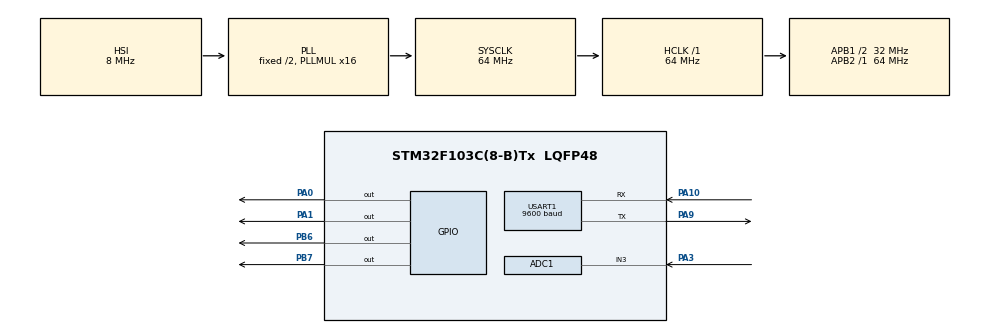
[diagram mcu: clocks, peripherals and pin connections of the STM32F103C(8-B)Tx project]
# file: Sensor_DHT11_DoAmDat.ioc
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ADC1.Channel-0\#ChannelRegularConversion=ADC_CHANNEL_3
ADC1.ContinuousConvMode=ENABLE
ADC1.NbrOfConversionFlag=1
ADC1.Rank-0\#ChannelRegularConversion=1
ADC1.SamplingTime-0\#ChannelRegularConversion=ADC_SAMPLETIME_239CYCLES_5
ADC1.master=1
FREERTOS.Tasks01=defaultTask,0,128,StartDefaultTask,Default,NULL,Dynamic,NULL,NULL
Mcu.Family=STM32F1
Mcu.Name=STM32F103C(8-B)Tx
Mcu.Package=LQFP48
NVIC.ADC1_2_IRQn=true\:6\:0\:true\:false\:true\:true\:true\:true
NVIC.PriorityGroup=NVIC_PRIORITYGROUP_4
NVIC.TIM1_UP_IRQn=true\:6\:0\:true\:false\:true\:true\:true\:true
NVIC.TIM4_IRQn=true\:15\:0\:false\:false\:true\:false\:false\:true
NVIC.TimeBase=TIM4_IRQn
NVIC.TimeBaseIP=TIM4
NVIC.USART1_IRQn=true\:6\:0\:true\:false\:true\:true\:true\:true
PA0-WKUP.Signal=GPIO_Output
PA1.Signal=GPIO_Output
PA10.Mode=Asynchronous
PA10.Signal=USART1_RX
PA13.Mode=Serial_Wire
PA13.Signal=SYS_JTMS-SWDIO
PA14.Mode=Serial_Wire
PA14.Signal=SYS_JTCK-SWCLK
PA3.Signal=ADCx_IN3
PA9.Mode=Asynchronous
PA9.Signal=USART1_TX
PB6.PinState=GPIO_PIN_RESET
PB6.Signal=GPIO_Output
PB7.Signal=GPIO_Output
PD0-OSC_IN.Mode=HSE-External-Oscillator
PD0-OSC_IN.Signal=RCC_OSC_IN
PD1-OSC_OUT.Mode=HSE-External-Oscillator
PD1-OSC_OUT.Signal=RCC_OSC_OUT
ProjectManager.HeapSize=0x200
ProjectManager.StackSize=0x400
ProjectManager.TargetToolchain=MDK-ARM V5.32
RCC.ADCPresc=RCC_ADCPCLK2_DIV6
RCC.AHBFreq_Value=64000000
RCC.APB1CLKDivider=RCC_HCLK_DIV2
RCC.APB1Freq_Value=32000000
RCC.APB1TimFreq_Value=64000000
RCC.APB2Freq_Value=64000000
RCC.APB2TimFreq_Value=64000000
RCC.HCLKFreq_Value=64000000
RCC.PLLMUL=RCC_PLL_MUL16
RCC.SYSCLKFreq_VALUE=64000000
RCC.SYSCLKSource=RCC_SYSCLKSOURCE_PLLCLK
RCC.USBFreq_Value=64000000
SH.ADCx_IN3.0=ADC1_IN3,IN3
TIM1.Period=999
TIM1.Prescaler=63
TIM2.Prescaler=63
USART1.BaudRate=9600
USART1.VirtualMode=VM_ASYNC
VP_FREERTOS_VS_CMSIS_V1.Mode=CMSIS_V1
VP_SYS_VS_tim4.Mode=TIM4
VP_TIM1_VS_ClockSourceINT.Mode=Internal
VP_TIM2_VS_ClockSourceINT.Mode=Internal
board=custom

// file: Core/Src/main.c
/* USER CODE BEGIN Header */
/**
  ******************************************************************************
  * @file           : main.c
  * @brief          : Main program body
  ******************************************************************************
  * @attention
  *
  * <h2><center>&copy; Copyright (c) 2023 STMicroelectronics.
  * All rights reserved.</center></h2>
  *
  * This software component is licensed by ST under BSD 3-Clause license,
  * the "License"; You may not use this file except in compliance with the
  * License. You may obtain a copy of the License at:
  *                        opensource.org/licenses/BSD-3-Clause
  *
  ******************************************************************************
  */
/* USER CODE END Header */
#include "main.h"
#include "cmsis_os.h"

/* USER CODE BEGIN Includes */
#include "stdbool.h"
#include "sensor.h"
#include "doam_dat.h"
#include "uart.h"
/* USER CODE END Includes */

ADC_HandleTypeDef hadc1;

TIM_HandleTypeDef htim1;
TIM_HandleTypeDef htim2;

UART_HandleTypeDef huart1;

osThreadId defaultTaskHandle;
/* USER CODE BEGIN PV */
 ADC_ChannelConfTypeDef sConfigPrivate = {0};

osThreadId task2_Handle;
/* USER CODE END PV */

void SystemClock_Config(void);
static void MX_GPIO_Init(void);
static void MX_ADC1_Init(void);
static void MX_TIM1_Init(void);
static void MX_TIM2_Init(void);
static void MX_USART1_UART_Init(void);
void StartDefaultTask(void const * argument);

/* USER CODE BEGIN PFP */

void Task2(void const *parameter);

extern uint32_t g_sysTime;
extern volatile uint8_t g_run1msFlag;

 #define VALUE_ON_RELAY  30

uint32_t time10ms = 0;
uint32_t time100ms = 0;
uint32_t cambien_doam_dat1=0;
uint32_t cambien_doam_dat2=0;
uint32_t cambien_anhsang1=0;
uint32_t cambien_anhsang2=0;

typedef enum
{
	ADC_CH_3 = 0,
	ADC_CH_4,
	ADC_CH_5,
	ADC_CH_6
}ch_adc_t;

DHT11_Data_TypeDef DHT11_Data_1;
DHT11_Data_TypeDef DHT11_Data_2;

float temp1 = 0, humi1 = 0;
float temp2 = 0, humi2 = 0;
/* USER CODE END PFP */

/* USER CODE BEGIN 0 */
void delay_us(uint16_t us)
{
	uint16_t differ=0xffff-us-5;
	__HAL_TIM_SET_COUNTER(&htim2,differ);
	HAL_TIM_Base_Start(&htim2);
	while(differ<0xffff-6)
  {
    differ=__HAL_TIM_GET_COUNTER(&htim2);
  }
  HAL_TIM_Base_Stop(&htim2);
}

uint32_t elapsedTime(uint32_t newTime,uint32_t oldTime)
{
	if(newTime >= oldTime)
	{
		return (newTime - oldTime);
	}else
	{
		return (newTime + (0xffffffff - oldTime +1));
	}
}

void switchChannel(ch_adc_t channel)
{
	sConfigPrivate.Rank = ADC_REGULAR_RANK_1;
	sConfigPrivate.SamplingTime = ADC_SAMPLETIME_239CYCLES_5;
	if(channel == ADC_CH_3)
	{
		sConfigPrivate.Channel = ADC_CHANNEL_3;
	}
	else if(channel == ADC_CH_4)
	{
		sConfigPrivate.Channel = ADC_CHANNEL_4;
	}
	else if(channel == ADC_CH_5)
	{
		sConfigPrivate.Channel = ADC_CHANNEL_5;
	}
	else
	{
		sConfigPrivate.Channel = ADC_CHANNEL_6;
	}

	if (HAL_ADC_ConfigChannel(&hadc1, &sConfigPrivate) != HAL_OK)
  {
    Error_Handler();
  }
}
/* USER CODE END 0 */

int main(void)
{

  /* MCU Configuration--------------------------------------------------------*/

  /* Reset of all peripherals, Initializes the Flash interface and the Systick. */
  HAL_Init();

  /* Configure the system clock */
  SystemClock_Config();

  /* Initialize all configured peripherals */
  MX_GPIO_Init();
  MX_ADC1_Init();
  MX_TIM1_Init();
  MX_TIM2_Init();
  MX_USART1_UART_Init();
  /* USER CODE BEGIN 2 */
	HAL_TIM_Base_Start_IT(&htim1);
	doam_dat_init(hadc1);
	uart_init(&huart1);
	HAL_GPIO_WritePin(GPIOB,GPIO_PIN_6,0);
	HAL_GPIO_WritePin(GPIOB,GPIO_PIN_7,0);
  /* USER CODE END 2 */

  /* Create the thread(s) */
  /* definition and creation of defaultTask */
  osThreadDef(defaultTask, StartDefaultTask, osPriorityAboveNormal, 0, 128);
  defaultTaskHandle = osThreadCreate(osThread(defaultTask), NULL);

  /* USER CODE BEGIN RTOS_THREADS */
	osThreadDef(task2Handle, Task2, osPriorityNormal, 0, 128);
  task2_Handle = osThreadCreate(osThread(task2Handle), NULL);

  /* add threads, ... */
  /* USER CODE END RTOS_THREADS */

  /* Start scheduler */
  osKernelStart();

  /* We should never get here as control is now taken by the scheduler */
  /* Infinite loop */
  /* USER CODE BEGIN WHILE */
  while (1)
  {
//		if(g_run1msFlag)
//		{
//			static uint8_t xchannel = 0;
//			g_run1msFlag = 0;
//			doam_dat_start(hadc1);
//			switchChannel(xchannel);
//			xchannel++;
//			if(xchannel>=4)
//			{
//				xchannel=0;
//			}
//		}
//		if(elapsedTime(g_sysTime,time10ms) >= 10)
//		{
//			uart_process();
//			time10ms = g_sysTime;
//		}
//		if(elapsedTime(g_sysTime,time100ms) >= 100)
//		{
//			cambien_doam_dat1 = ((uint32_t)100-(doam_dat_getValue_sensor1()*(uint32_t)100)/4095);
//			cambien_doam_dat2 = ((uint32_t)100-(doam_dat_getValue_sensor2()*(uint32_t)100)/4095);
//			if(DHT11_1_ReadData(&DHT11_Data))
//			{
//				temp1 = DHT11_Data.temp_int;
//				humi1 = DHT11_Data.humi_int;
//			}
//			if(DHT11_2_ReadData(&DHT11_Data))
//			{
//				temp2 = DHT11_Data.temp_int;
//				humi2 = DHT11_Data.humi_int;
//			}
//			uint8_t fr[6];
//			fr[0] = cambien_doam_dat1;
//			fr[1] = temp1;
//			fr[2] = humi1;
//			fr[3] = cambien_doam_dat2;
//			fr[4] = temp2;
//			fr[5] = humi2;

//			uart_transmitData(huart1,(char*)fr);
//
//			time100ms = g_sysTime;
//		}
    /* USER CODE END WHILE */

  }
}

void SystemClock_Config(void)
{
  RCC_OscInitTypeDef RCC_OscInitStruct = {0};
  RCC_ClkInitTypeDef RCC_ClkInitStruct = {0};
  RCC_PeriphCLKInitTypeDef PeriphClkInit = {0};

  /** Initializes the RCC Oscillators according to the specified parameters
  * in the RCC_OscInitTypeDef structure.
  */
  RCC_OscInitStruct.OscillatorType = RCC_OSCILLATORTYPE_HSI;
  RCC_OscInitStruct.HSIState = RCC_HSI_ON;
  RCC_OscInitStruct.HSICalibrationValue = RCC_HSICALIBRATION_DEFAULT;
  RCC_OscInitStruct.PLL.PLLState = RCC_PLL_ON;
  RCC_OscInitStruct.PLL.PLLSource = RCC_PLLSOURCE_HSI_DIV2;
  RCC_OscInitStruct.PLL.PLLMUL = RCC_PLL_MUL16;
  if (HAL_RCC_OscConfig(&RCC_OscInitStruct) != HAL_OK)
  {
    Error_Handler();
  }
  /** Initializes the CPU, AHB and APB buses clocks
  */
  RCC_ClkInitStruct.ClockType = RCC_CLOCKTYPE_HCLK|RCC_CLOCKTYPE_SYSCLK
                              |RCC_CLOCKTYPE_PCLK1|RCC_CLOCKTYPE_PCLK2;
  RCC_ClkInitStruct.SYSCLKSource = RCC_SYSCLKSOURCE_PLLCLK;
  RCC_ClkInitStruct.AHBCLKDivider = RCC_SYSCLK_DIV1;
  RCC_ClkInitStruct.APB1CLKDivider = RCC_HCLK_DIV2;
  RCC_ClkInitStruct.APB2CLKDivider = RCC_HCLK_DIV1;

  if (HAL_RCC_ClockConfig(&RCC_ClkInitStruct, FLASH_LATENCY_2) != HAL_OK)
  {
    Error_Handler();
  }
  PeriphClkInit.PeriphClockSelection = RCC_PERIPHCLK_ADC;
  PeriphClkInit.AdcClockSelection = RCC_ADCPCLK2_DIV6;
  if (HAL_RCCEx_PeriphCLKConfig(&PeriphClkInit) != HAL_OK)
  {
    Error_Handler();
  }
}

static void MX_ADC1_Init(void)
{

  ADC_ChannelConfTypeDef sConfig = {0};

  /** Common config
  */
  hadc1.Instance = ADC1;
  hadc1.Init.ScanConvMode = ADC_SCAN_DISABLE;
  hadc1.Init.ContinuousConvMode = ENABLE;
  hadc1.Init.DiscontinuousConvMode = DISABLE;
  hadc1.Init.ExternalTrigConv = ADC_SOFTWARE_START;
  hadc1.Init.DataAlign = ADC_DATAALIGN_RIGHT;
  hadc1.Init.NbrOfConversion = 1;
  if (HAL_ADC_Init(&hadc1) != HAL_OK)
  {
    Error_Handler();
  }
  /** Configure Regular Channel
  */
  sConfig.Channel = ADC_CHANNEL_3;
  sConfig.Rank = ADC_REGULAR_RANK_1;
  sConfig.SamplingTime = ADC_SAMPLETIME_239CYCLES_5;
  if (HAL_ADC_ConfigChannel(&hadc1, &sConfig) != HAL_OK)
  {
    Error_Handler();
  }

}

static void MX_TIM1_Init(void)
{

  TIM_ClockConfigTypeDef sClockSourceConfig = {0};
  TIM_MasterConfigTypeDef sMasterConfig = {0};

  htim1.Instance = TIM1;
  htim1.Init.Prescaler = 63;
  htim1.Init.CounterMode = TIM_COUNTERMODE_UP;
  htim1.Init.Period = 999;
  htim1.Init.ClockDivision = TIM_CLOCKDIVISION_DIV1;
  htim1.Init.RepetitionCounter = 0;
  htim1.Init.AutoReloadPreload = TIM_AUTORELOAD_PRELOAD_DISABLE;
  if (HAL_TIM_Base_Init(&htim1) != HAL_OK)
  {
    Error_Handler();
  }
  sClockSourceConfig.ClockSource = TIM_CLOCKSOURCE_INTERNAL;
  if (HAL_TIM_ConfigClockSource(&htim1, &sClockSourceConfig) != HAL_OK)
  {
    Error_Handler();
  }
  sMasterConfig.MasterOutputTrigger = TIM_TRGO_RESET;
  sMasterConfig.MasterSlaveMode = TIM_MASTERSLAVEMODE_DISABLE;
  if (HAL_TIMEx_MasterConfigSynchronization(&htim1, &sMasterConfig) != HAL_OK)
  {
    Error_Handler();
  }

}

static void MX_TIM2_Init(void)
{

  TIM_ClockConfigTypeDef sClockSourceConfig = {0};
  TIM_MasterConfigTypeDef sMasterConfig = {0};

  htim2.Instance = TIM2;
  htim2.Init.Prescaler = 63;
  htim2.Init.CounterMode = TIM_COUNTERMODE_UP;
  htim2.Init.Period = 65535;
  htim2.Init.ClockDivision = TIM_CLOCKDIVISION_DIV1;
  htim2.Init.AutoReloadPreload = TIM_AUTORELOAD_PRELOAD_DISABLE;
  if (HAL_TIM_Base_Init(&htim2) != HAL_OK)
  {
    Error_Handler();
  }
  sClockSourceConfig.ClockSource = TIM_CLOCKSOURCE_INTERNAL;
  if (HAL_TIM_ConfigClockSource(&htim2, &sClockSourceConfig) != HAL_OK)
  {
    Error_Handler();
  }
  sMasterConfig.MasterOutputTrigger = TIM_TRGO_RESET;
  sMasterConfig.MasterSlaveMode = TIM_MASTERSLAVEMODE_DISABLE;
  if (HAL_TIMEx_MasterConfigSynchronization(&htim2, &sMasterConfig) != HAL_OK)
  {
    Error_Handler();
  }

}

static void MX_USART1_UART_Init(void)
{

  huart1.Instance = USART1;
  huart1.Init.BaudRate = 9600;
  huart1.Init.WordLength = UART_WORDLENGTH_8B;
  huart1.Init.StopBits = UART_STOPBITS_1;
  huart1.Init.Parity = UART_PARITY_NONE;
  huart1.Init.Mode = UART_MODE_TX_RX;
  huart1.Init.HwFlowCtl = UART_HWCONTROL_NONE;
  huart1.Init.OverSampling = UART_OVERSAMPLING_16;
  if (HAL_UART_Init(&huart1) != HAL_OK)
  {
    Error_Handler();
  }

}

static void MX_GPIO_Init(void)
{
  GPIO_InitTypeDef GPIO_InitStruct = {0};

  /* GPIO Ports Clock Enable */
  __HAL_RCC_GPIOD_CLK_ENABLE();
  __HAL_RCC_GPIOA_CLK_ENABLE();
  __HAL_RCC_GPIOB_CLK_ENABLE();

  /*Configure GPIO pin Output Level */
  HAL_GPIO_WritePin(GPIOA, GPIO_PIN_0|GPIO_PIN_1, GPIO_PIN_RESET);

  /*Configure GPIO pin Output Level */
  HAL_GPIO_WritePin(GPIOB, GPIO_PIN_6|GPIO_PIN_7, GPIO_PIN_RESET);

  /*Configure GPIO pins : PA0 PA1 */
  GPIO_InitStruct.Pin = GPIO_PIN_0|GPIO_PIN_1;
  GPIO_InitStruct.Mode = GPIO_MODE_OUTPUT_PP;
  GPIO_InitStruct.Pull = GPIO_NOPULL;
  GPIO_InitStruct.Speed = GPIO_SPEED_FREQ_LOW;
  HAL_GPIO_Init(GPIOA, &GPIO_InitStruct);

  /*Configure GPIO pins : PB6 PB7 */
  GPIO_InitStruct.Pin = GPIO_PIN_6|GPIO_PIN_7;
  GPIO_InitStruct.Mode = GPIO_MODE_OUTPUT_PP;
  GPIO_InitStruct.Pull = GPIO_NOPULL;
  GPIO_InitStruct.Speed = GPIO_SPEED_FREQ_LOW;
  HAL_GPIO_Init(GPIOB, &GPIO_InitStruct);

}

/* USER CODE BEGIN 4 */
//	uint8_t fr[4];
void Task2(void const *parameter)
{
	while(1)
	{
			uint8_t fr[4];
			fr[0] = ((uint8_t)temp1 + temp2)/2;
			fr[1] = ((uint8_t)humi1 + humi2)/2;
			fr[2] = ((uint8_t)cambien_anhsang1 + cambien_anhsang2)/2;
			fr[3] = ((uint8_t)cambien_doam_dat1 + cambien_doam_dat2)/2;

			uart_transmitData((char*)fr,4);
			osDelay(1000);
	}
}
bool readDHT11 = false;
/* USER CODE END 4 */

bool isOnAuto_relay = true;
void StartDefaultTask(void const * argument)
{
  /* USER CODE BEGIN 5 */
  /* Infinite loop */
  for(;;)
  {
		uart_process();
		static uint8_t xchannel = 0;
		doam_dat_start(hadc1);
		switchChannel(xchannel);
		xchannel++;
		if(xchannel>=4)
		{
			xchannel=0;
		}
		if((DHT11_1_ReadData(&DHT11_Data_1)) && (!readDHT11))
		{
			temp1 = DHT11_Data_1.temp_int;
			humi1 = DHT11_Data_1.humi_int;
		}
		else if((DHT11_2_ReadData(&DHT11_Data_2)) && (readDHT11))
		{
			temp2 = DHT11_Data_2.temp_int;
			humi2 = DHT11_Data_2.humi_int;
		}

		if(readDHT11)
		{
			readDHT11 = false;
		}
		else
		{
			readDHT11 = true;
		}
		cambien_doam_dat1 = ((uint32_t)100-(doam_dat_getValue_sensor1()*(uint32_t)100)/4095);
		cambien_doam_dat2 = ((uint32_t)100-(doam_dat_getValue_sensor2()*(uint32_t)100)/4095);
		cambien_anhsang1 = ((uint32_t)100-(doam_dat_getvalue_anhsang1()*(uint32_t)100)/4095);
		cambien_anhsang2 = ((uint32_t)100-(doam_dat_getvalue_anhsang2()*(uint32_t)100)/4095);
		if(!isOnAuto_relay)
		{
			if((cambien_doam_dat1+cambien_doam_dat2)/2 < VALUE_ON_RELAY)
			{
				HAL_GPIO_WritePin(GPIOB,GPIO_PIN_6,1);
			}
			else
			{
				HAL_GPIO_WritePin(GPIOB,GPIO_PIN_6,0);
			}

			if((cambien_anhsang1+cambien_anhsang1)/2 < VALUE_ON_RELAY)
			{
				HAL_GPIO_WritePin(GPIOB,GPIO_PIN_7,1);
			}
			else
			{
				HAL_GPIO_WritePin(GPIOB,GPIO_PIN_7,0);
			}
		}
    osDelay(50);
  }
  /* USER CODE END 5 */
}

void HAL_TIM_PeriodElapsedCallback(TIM_HandleTypeDef *htim)
{
  if (htim->Instance == TIM4) {
    HAL_IncTick();
  }
}

void Error_Handler(void)
{
  __disable_irq();
  while (1)
  {
  }
}

/************************ (C) COPYRIGHT STMicroelectronics *****END OF FILE****/
